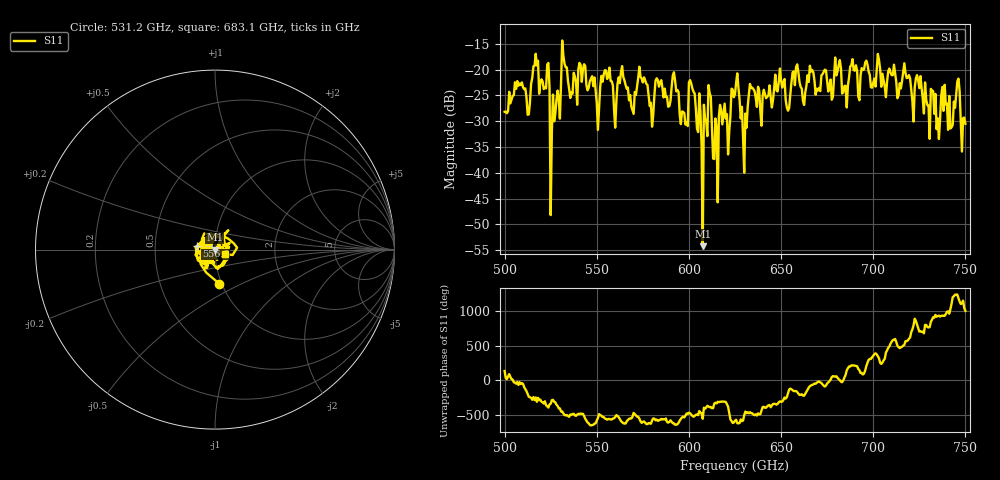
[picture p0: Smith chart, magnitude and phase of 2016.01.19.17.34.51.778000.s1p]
!Created with skrf (http://scikit-rf.org).
# GHz S RI R 50.0
!freq ReS11 ImS11
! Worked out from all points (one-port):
!   401 points, 500 GHz to 750 GHz, reference 50 ohm
!   lowest |S11| = -54.2 dB at 607.5 GHz (marker M1), VSWR 1.00, Z = 49.8 + j0.0276 ohm
!   |S11| at or under -10 dB: start of sweep to end of sweep
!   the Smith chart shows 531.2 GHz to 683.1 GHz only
!   S11 on the Smith chart (normalised r, x): 531.2 GHz: 0.97, -0.38; 556.9 GHz: 0.81, +0.03; 683.1 GHz: 1.11, -0.05
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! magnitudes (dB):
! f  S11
! 500 GHz  -28.2
! 513.1 GHz  -28.7
! 516.9 GHz  -16.9
! 523.1 GHz  -19.0
! 526.2 GHz  -24.8
! 531.2 GHz  -14.3
! 550.6 GHz  -31.7
! 556.9 GHz  -19.6
! 560 GHz  -31.2
! 562.5 GHz  -22.6
! 568.8 GHz  -27.2
! 573.8 GHz  -21.4
! 579.4 GHz  -26.4
! 593.8 GHz  -24.0
! 598.1 GHz  -30.7
! 601.9 GHz  -23.7
! 607.5 GHz  -54.2
! 610.6 GHz  -23.0
! 614.4 GHz  -29.5
! 625 GHz  -24.8
! 630.6 GHz  -28.5
! 633.8 GHz  -23.6
! 656.2 GHz  -20.5
! 683.1 GHz  -24.6
! 687.5 GHz  -19.4
! 718.8 GHz  -21.6
! 745.6 GHz  -22.3
! 750 GHz  -30.5
